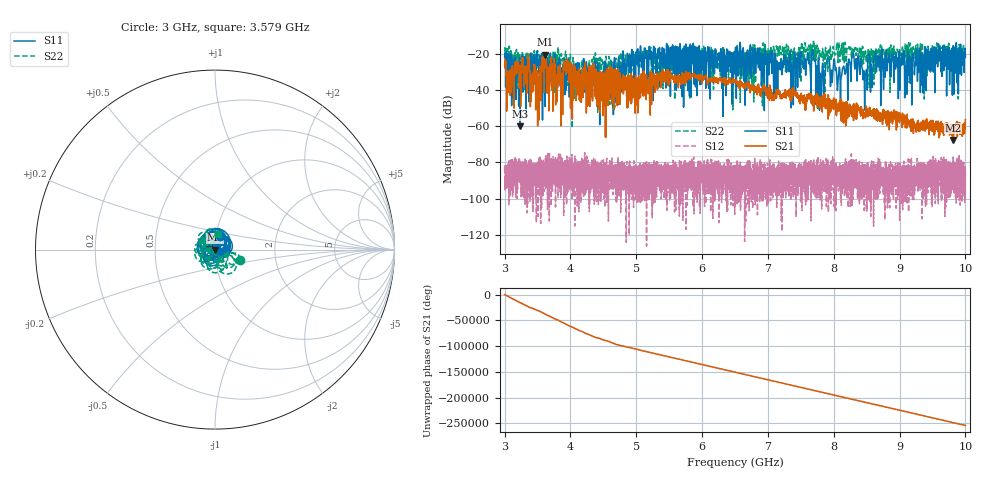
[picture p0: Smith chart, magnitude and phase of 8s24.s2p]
!Agilent Technologies,E8363B,MY43030572,A.06.04.32
!Agilent E8363B: A.06.04.32
!Date: Tuesday, June 07, 2011 09:06:01
!Correction: S11(Full 2 Port(1,2)) S21(Full 2 Port(1,2)) S12(Full 2 Port(1,2)) S22(Full 2 Port(1,2))
!S2P File: Measurements: S11, S21, S12, S22:
# Hz S  dB  R 50
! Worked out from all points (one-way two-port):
!   6401 points, 3 GHz to 10 GHz, reference 50 ohm
!   highest |S21| = -20.56 dB at 3.619 GHz (marker M1); lowest = -67.7 dB at 9.81 GHz (marker M2)
!   lowest |S11| = -60.2 dB at 3.237 GHz (marker M3), VSWR 1.00, Z = 50 - j0.0939 ohm
!   |S11| at or under -10 dB: start of sweep to end of sweep
!   |S22| runs from -61.1 to -12.8 dB; largest |S21 - S12| = 0.094
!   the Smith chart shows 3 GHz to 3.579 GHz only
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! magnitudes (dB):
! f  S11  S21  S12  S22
! 3 GHz  -21.8  -25.7  -85.1  -16.5
! 3.062 GHz  -31.1  -36.4  -87.7  -19.2
! 3.237 GHz  -60.2  -27.2  -82.5  -33.1
! 3.497 GHz  -19.0  -30.7  -87.1  -19.1
! 3.619 GHz  -29.5  -20.6  -87.8  -28.8
! 4.167 GHz  -29.6  -41.9  -89.4  -24.8
! 4.327 GHz  -36.3  -33.6  -80.8  -24.1
! 4.398 GHz  -35.2  -31.1  -86.9  -25.4
! 4.469 GHz  -30.7  -33.7  -90.4  -25.5
! 4.529 GHz  -25.2  -34.1  -92.8  -26.8
! 5.334 GHz  -18.3  -32.8  -85.8  -25.4
! 6.5 GHz  -22.6  -35.4  -85.0  -27.2
! 7.667 GHz  -20.7  -46.6  -87.9  -16.9
! 7.818 GHz  -36.6  -47.5  -92.3  -22.0
! 7.908 GHz  -22.3  -45.0  -85.4  -28.8
! 8.082 GHz  -28.0  -50.1  -84.1  -15.4
! 8.306 GHz  -21.4  -48.1  -94.1  -17.9
! 8.475 GHz  -34.3  -52.9  -88.3  -20.9
! 8.635 GHz  -18.8  -54.7  -97.9  -20.2
! 8.834 GHz  -20.6  -56.4  -81.4  -21.4
! 9.81 GHz  -17.3  -67.7  -83.0  -19.7
! 10 GHz  -22.1  -56.5  -98.1  -21.6
